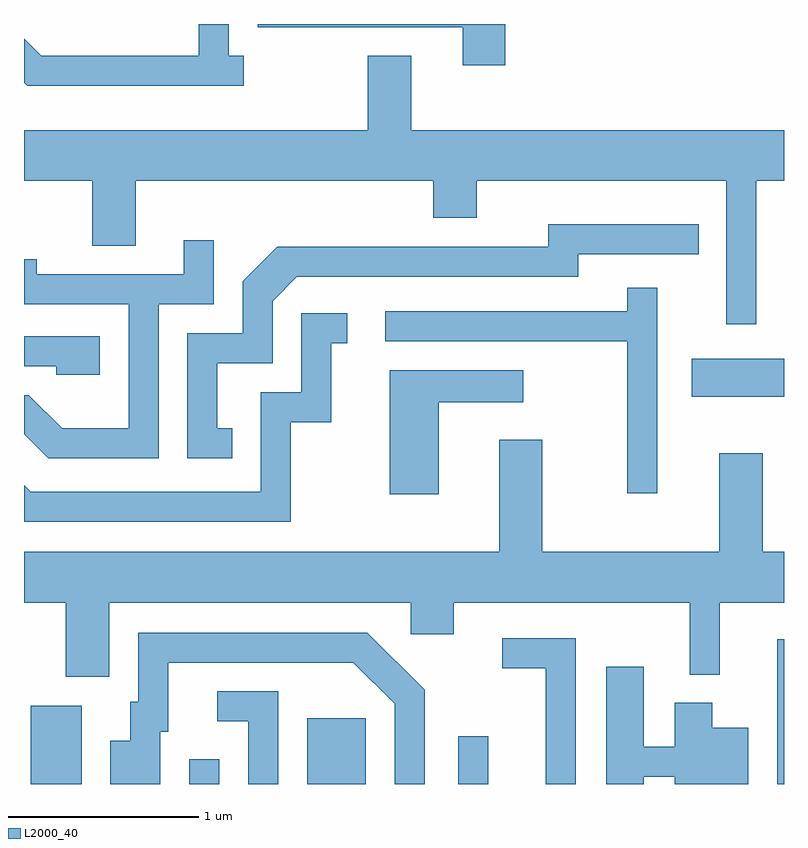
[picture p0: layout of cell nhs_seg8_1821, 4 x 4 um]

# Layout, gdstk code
import gdstk
lib = gdstk.Library(unit=1e-6, precision=1e-09)
def R(c, l, rs):  # rectangles x0, y0, x1, y1
    for r in rs: c.add(gdstk.rectangle(r[:2], r[2:], *l))
def P(c, l, *ps):  # polygons
    for p in ps: c.add(gdstk.Polygon(p, *l))
L2000_40 = (2000, 40)

nhs_seg8_1821 = lib.new_cell('nhs_seg8_1821')
R(nhs_seg8_1821, L2000_40, [(239.646,1844.342,239.914,1844.754), (240.481,1844.342,240.639,1844.473), (241.101,1844.342,241.409,1844.689), (241.896,1844.342,242.054,1844.593), (243.576,1844.342,243.611,1845.103), (243.126,1846.381,243.611,1846.579)])
P(nhs_seg8_1821, L2000_40, [(242.144,1848.342),(240.841,1848.342),(240.841,1848.326),(241.921,1848.326),(241.921,1848.126),(242.144,1848.126)],
  [(240.768,1848.174),(240.689,1848.174),(240.689,1848.342),(240.531,1848.342),(240.531,1848.174),(239.702,1848.174),(239.611,1848.265),(239.611,1848.034),(239.629,1848.016),(240.768,1848.016)],
  [(243.464,1847.516),(243.611,1847.516),(243.611,1847.784),(241.649,1847.784),(241.649,1848.174),(241.421,1848.174),(241.421,1847.784),(239.611,1847.784),(239.611,1847.516),(239.971,1847.516),(239.971,1847.176),(240.199,1847.176),(240.199,1847.516),(241.766,1847.516),(241.766,1847.321),(241.994,1847.321),(241.994,1847.516),(243.306,1847.516),(243.306,1846.763),(243.464,1846.763)],
  [(240.708,1846.214),(240.629,1846.214),(240.629,1846.556),(240.919,1846.556),(240.919,1846.884),(241.047,1847.011),(242.529,1847.011),(242.529,1847.131),(243.163,1847.131),(243.163,1847.289),(242.371,1847.289),(242.371,1847.169),(240.944,1847.169),(240.761,1846.987),(240.761,1846.714),(240.471,1846.714),(240.471,1846.056),(240.708,1846.056)],
  [(240.319,1846.866),(240.609,1846.866),(240.609,1847.203),(240.451,1847.203),(240.451,1847.024),(239.679,1847.024),(239.679,1847.103),(239.611,1847.103),(239.611,1846.866),(240.161,1846.866),(240.161,1846.214),(239.812,1846.214),(239.637,1846.389),(239.611,1846.389),(239.611,1846.184),(239.739,1846.056),(240.319,1846.056)],
  [(242.944,1846.953),(242.786,1846.953),(242.786,1846.829),(241.513,1846.829),(241.513,1846.671),(242.786,1846.671),(242.786,1845.873),(242.944,1845.873)],
  [(241.014,1846.246),(241.229,1846.246),(241.229,1846.661),(241.313,1846.661),(241.313,1846.819),(241.071,1846.819),(241.071,1846.404),(240.856,1846.404),(240.856,1845.879),(239.647,1845.879),(239.611,1845.915),(239.611,1845.721),(241.014,1845.721)],
  [(240.009,1846.699),(239.611,1846.699),(239.611,1846.541),(239.781,1846.541),(239.781,1846.496),(240.009,1846.496)],
  [(241.794,1846.351),(242.238,1846.351),(242.238,1846.519),(241.536,1846.519),(241.536,1845.866),(241.794,1845.866)],
  [(240.059,1845.296),(241.646,1845.296),(241.646,1845.131),(241.874,1845.131),(241.874,1845.296),(243.116,1845.296),(243.116,1844.918),(243.274,1844.918),(243.274,1845.296),(243.611,1845.296),(243.611,1845.564),(243.499,1845.564),(243.499,1846.084),(243.271,1846.084),(243.271,1845.564),(242.339,1845.564),(242.339,1846.154),(242.111,1846.154),(242.111,1845.564),(239.611,1845.564),(239.611,1845.296),(239.831,1845.296),(239.831,1844.906),(240.059,1844.906)],
  [(240.329,1844.616),(240.369,1844.616),(240.369,1844.981),(241.344,1844.981),(241.561,1844.764),(241.561,1844.342),(241.719,1844.342),(241.719,1844.837),(241.417,1845.139),(240.211,1845.139),(240.211,1844.774),(240.171,1844.774),(240.171,1844.569),(240.066,1844.569),(240.066,1844.342),(240.329,1844.342)],
  [(242.514,1845.109),(242.128,1845.109),(242.128,1844.951),(242.356,1844.951),(242.356,1844.342),(242.514,1844.342)],
  [(242.874,1844.381),(243.036,1844.381),(243.036,1844.342),(243.424,1844.342),(243.424,1844.639),(243.234,1844.639),(243.234,1844.769),(243.036,1844.769),(243.036,1844.539),(242.874,1844.539),(242.874,1844.959),(242.676,1844.959),(242.676,1844.342),(242.874,1844.342)],
  [(240.949,1844.829),(240.628,1844.829),(240.628,1844.671),(240.791,1844.671),(240.791,1844.342),(240.949,1844.342)])

lib.write_gds('nhs_seg8_1821.gds')
